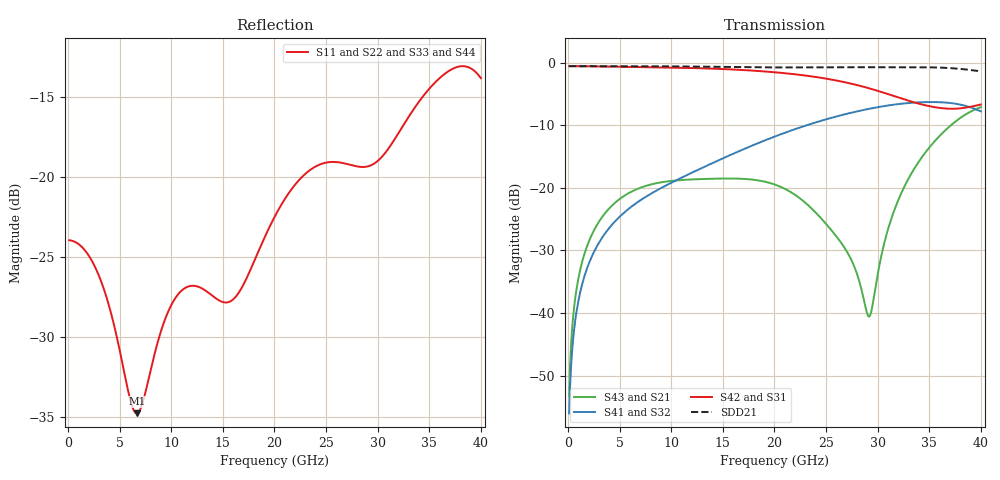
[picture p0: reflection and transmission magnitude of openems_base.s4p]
! E_s8_L1L8_p1000_oval_g4: pair L1→L8, pitch 1 mm, one oval antipad, 4 GND vias
! stackup: 8-layer 1.6 mm FR-4 (generic)
! ports: 1 P near, 2 N near, 3 P far, 4 N far
! openEMS 0.37.0, staircase, base mesh (dfine 0.035 mm), 768105 cells
# Hz S RI R 50
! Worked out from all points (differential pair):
!   400 points, 100 MHz to 40 GHz, reference 50 ohm
!   strongest paths, dB at 100 MHz, 10.1 GHz, 20.1 GHz, 30.1 GHz, 40 GHz:
!     S42: -0.6, -0.8, -1.6, -4.6, -6.7
!     S31: -0.6, -0.8, -1.6, -4.6, -6.7
!     S41: -56.0, -19.1, -11.8, -7.1, -7.8
!     S32: -56.0, -19.1, -11.8, -7.1, -7.8
!     S43: -53.3, -18.9, -19.5, -32.9, -7.1
!     S21: -53.3, -18.9, -19.5, -32.9, -7.1
!   taken as a pair (ports 2,1 in; 4,3 out), SDD21 dB: -0.6, -0.6, -0.8, -0.7, -1.4
!   lowest |S11| = -34.8 dB at 6.7 GHz (marker M1), VSWR 1.04, Z = 51.3 - j1.27 ohm
!   |S11| at or under -10 dB: start of sweep to end of sweep
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1e8  -0.0633 0.00255  0.00112 0.00186  0.9357 -0.0358  0.000911 -0.00129
     0.00112 0.00186  -0.0633 0.00255  0.000911 -0.00129  0.9357 -0.0358
     0.9357 -0.0358  0.000912 -0.00129  -0.0633 0.00255  0.00113 0.00186
     0.000912 -0.00129  0.9357 -0.0358  0.00113 0.00186  -0.0633 0.00255
6.7e9  0.0135 -0.0124  0.0472 -0.0857  -0.7668 -0.5112  -0.0336 0.0687
       0.0472 -0.0857  0.0135 -0.0124  -0.0336 0.0687  -0.7668 -0.5112
       -0.7668 -0.5112  -0.0336 0.0687  0.0135 -0.0124  0.0472 -0.0857
       -0.0336 0.0687  -0.7668 -0.5112  0.0472 -0.0857  0.0135 -0.0124
1.19e10  -0.0255 0.0379  -0.1162 -0.00905  -0.1554 0.8918  0.1307 0.00652
         -0.1162 -0.00905  -0.0255 0.0379  0.1307 0.00652  -0.1554 0.8918
         -0.1554 0.8918  0.1307 0.00653  -0.0255 0.0379  -0.1162 -0.00905
         0.1307 0.00653  -0.1554 0.8918  -0.1162 -0.00905  -0.0255 0.0379
1.62e10  0.0373 -0.0195  -0.00662 0.1183  0.8764 0.0703  -0.00651 -0.1902
         -0.00662 0.1183  0.0373 -0.0195  -0.00651 -0.1902  0.8764 0.0703
         0.8764 0.0703  -0.00651 -0.1902  0.0373 -0.0195  -0.00662 0.1183
         -0.00651 -0.1902  0.8764 0.0703  -0.00662 0.1183  0.0373 -0.0195
2.38e10  -0.0577 0.0898  0.0326 -0.0572  -0.7497 -0.1839  0.00973 0.3289
         0.0326 -0.0572  -0.0577 0.0898  0.00973 0.3289  -0.7497 -0.1839
         -0.7497 -0.1839  0.00973 0.3289  -0.0577 0.0898  0.0326 -0.0572
         0.00973 0.3289  -0.7497 -0.1839  0.0326 -0.0572  -0.0577 0.0898
2.92e10  0.0991 0.043  -0.00676 0.00648  0.1874 0.5934  0.2842 -0.3199
         -0.00676 0.00648  0.0991 0.043  0.2842 -0.3199  0.1874 0.5934
         0.1874 0.5934  0.2842 -0.3199  0.0991 0.043  -0.00676 0.00648
         0.2842 -0.3199  0.1874 0.5934  -0.00676 0.00648  0.0991 0.043
4e10  -0.1869 0.0791  -0.3011 0.3217  -0.3586 -0.2922  0.3949 0.1025
      -0.3011 0.3217  -0.1869 0.0791  0.3949 0.1025  -0.3586 -0.2922
      -0.3586 -0.2922  0.3949 0.1025  -0.1869 0.0791  -0.3011 0.3217
      0.3949 0.1025  -0.3586 -0.2922  -0.3011 0.3217  -0.1869 0.0791
